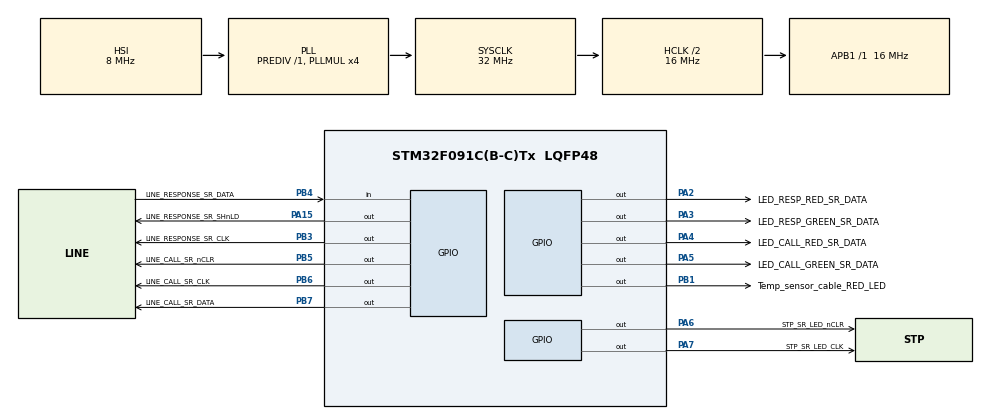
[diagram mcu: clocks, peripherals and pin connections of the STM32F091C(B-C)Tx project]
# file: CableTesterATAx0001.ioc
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Mcu.Family=STM32F0
Mcu.Name=STM32F091C(B-C)Tx
Mcu.Package=LQFP48
NVIC.TIM15_IRQn=true\:0\:0\:false\:false\:true\:true\:true\:true
NVIC.TIM3_IRQn=true\:0\:0\:false\:false\:true\:true\:true\:true
NVIC.TIM6_DAC_IRQn=true\:0\:0\:false\:false\:true\:true\:true\:true
PA15.GPIO_Label=LINE_RESPONSE_SR_SHnLD
PA15.Signal=GPIO_Output
PA2.GPIO_Label=LED_RESP_RED_SR_DATA
PA2.GPIO_Speed=GPIO_SPEED_FREQ_MEDIUM
PA2.PinState=GPIO_PIN_RESET
PA2.Signal=GPIO_Output
PA3.GPIO_Label=LED_RESP_GREEN_SR_DATA
PA3.GPIO_Speed=GPIO_SPEED_FREQ_MEDIUM
PA3.Signal=GPIO_Output
PA4.GPIO_Label=LED_CALL_RED_SR_DATA
PA4.GPIO_Speed=GPIO_SPEED_FREQ_MEDIUM
PA4.Signal=GPIO_Output
PA5.GPIO_Label=LED_CALL_GREEN_SR_DATA
PA5.GPIO_Speed=GPIO_SPEED_FREQ_MEDIUM
PA5.Signal=GPIO_Output
PA6.GPIO_Label=STP_SR_LED_nCLR
PA6.GPIO_Speed=GPIO_SPEED_FREQ_MEDIUM
PA6.Signal=GPIO_Output
PA7.GPIO_Label=STP_SR_LED_CLK
PA7.GPIO_Speed=GPIO_SPEED_FREQ_MEDIUM
PA7.Signal=GPIO_Output
PB1.GPIO_Label=Temp_sensor_cable_RED_LED
PB1.Signal=GPIO_Output
PB3.GPIO_Label=LINE_RESPONSE_SR_CLK
PB3.Signal=GPIO_Output
PB4.GPIO_Label=LINE_RESPONSE_SR_DATA
PB4.Signal=GPIO_Input
PB5.GPIO_Label=LINE_CALL_SR_nCLR
PB5.Signal=GPIO_Output
PB6.GPIO_Label=LINE_CALL_SR_CLK
PB6.Signal=GPIO_Output
PB7.GPIO_Label=LINE_CALL_SR_DATA
PB7.Signal=GPIO_Output
ProjectManager.HeapSize=0x200
ProjectManager.StackSize=0x400
ProjectManager.TargetToolchain=STM32CubeIDE
RCC.AHBCLKDivider=RCC_SYSCLK_DIV2
RCC.AHBFreq_Value=16000000
RCC.APB1Freq_Value=16000000
RCC.APB1TimFreq_Value=16000000
RCC.HCLKFreq_Value=16000000
RCC.PLLMUL=RCC_PLL_MUL4
RCC.SYSCLKFreq_VALUE=32000000
RCC.SYSCLKSource=RCC_SYSCLKSOURCE_PLLCLK
TIM15.AutoReloadPreload=TIM_AUTORELOAD_PRELOAD_ENABLE
TIM15.Period=500
TIM15.Prescaler=15999
TIM3.AutoReloadPreload=TIM_AUTORELOAD_PRELOAD_ENABLE
TIM3.Period=500
TIM3.Prescaler=15999
TIM6.AutoReloadPreload=TIM_AUTORELOAD_PRELOAD_ENABLE
TIM6.Prescaler=15
VP_TIM15_VS_ClockSourceINT.Mode=Internal
VP_TIM3_VS_ClockSourceINT.Mode=Internal
VP_TIM6_VS_ClockSourceINT.Mode=Enable_Timer
board=custom

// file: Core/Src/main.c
/* USER CODE BEGIN Header */
/**
  ******************************************************************************
  * @file           : main.c
  * @brief          : Main program body
  ******************************************************************************
  * @attention
  *
  * Copyright (c) 2023 STMicroelectronics.
  * All rights reserved.
  *
  * This software is licensed under terms that can be found in the LICENSE file
  * in the root directory of this software component.
  * If no LICENSE file comes with this software, it is provided AS-IS.
  *
  ******************************************************************************
  */
/* USER CODE END Header */
#include "main.h"

/* USER CODE BEGIN Includes */
#include "LEDConfig.h"
#include "TempSensorConfig.h"
/* USER CODE END Includes */

TIM_HandleTypeDef htim3;
TIM_HandleTypeDef htim6;
TIM_HandleTypeDef htim15;

/* USER CODE BEGIN PV */
uint8_t g_u8LedCallGreenData = 0;
uint8_t g_u8LedRespGreenData = 0;
uint8_t g_u8LedCallRedData = 0;
uint8_t g_u8LedRespRedData = 0;

//uint8_t g_u8AllLedCallGreenData = 0;
//uint8_t g_u8AllLedRespGreenData = 0;
//uint8_t g_u8AllLedCallRedData = 0;
//uint8_t g_u8AllLedRespRedData = 0;

uint8_t g_u8ActiveRow = 0;
uint8_t g_u8ActiveRowColor = 1;
uint8_t g_u8ActiveLed = 0;
uint8_t g_u8StepNumber = 0;
uint8_t g_u8CallLineNumber = 0;
uint8_t g_u8ResponseLineNumber = 0;

/*поменять на ноль если режим мигание и потом все горят сразу и снова мигание*/
//uint8_t g_u8AllLinesUnicolor = 4;
uint8_t g_u8ChangeColor = 1;
//uint8_t g_u8DisplayAllLinesUnicolor = 0;
uint8_t g_u8ColumnGreen = 0b00000000;
uint8_t g_u8ColumnRed = 0b00000000;

uint8_t g_u8NeedToDisplayLedData = 0;
//uint8_t g_u8NeedToDefineLedGreenData = 0;
//uint8_t g_u8NeedToDefineLedRedData = 0;
//uint8_t g_u8NeedToDefineLedNothingData = 0;
/*далее обнулить и единичить по таймеру 10-100кгц*/
uint8_t g_u8RingDataReadyToReadFlag = 0;
uint16_t g_u16TimeCounter = 0;
uint8_t g_u8CallWireStep = 0;
uint8_t g_u8NeedToAnalyzeCableDataFlag = 0;

RCC_ClkInitTypeDef sClokConfig;
uint16_t g_u16PrescalerHtim3;
uint16_t g_u16PrescalerHtim6;
uint16_t g_u16Prescalerhtim15;
uint32_t g_u32frequencyTim;
uint32_t g_u32TimePeriodCallRespLed = 0;
uint16_t g_u16TimePeriodTempSensor = 0;
uint16_t g_u16TimePeriodRingLine = 0;
uint16_t g_u16TimePeriodStartIndication = 0;

uint32_t g_u32DebugTimeBegin;
uint32_t g_u32DebugTimeEnd;
uint32_t g_u32DebugTimeDifference;

//uint8_t g_u8CallData = 0b10000000;
uint8_t g_u8ActiveWireCheck = 0;
//uint8_t g_u8CallDataMemory = 0;
uint8_t g_u8SummResponsesWire = 0;
uint8_t g_u8SummResponsesArray = 0;
uint8_t g_u8CounterUnitsDigits = 0;
uint8_t g_u8StartIndicationFlag = 1;
uint8_t g_u8NeedToDisplayStartLedData = 0;

//uint32_t uwTick;

uint8_t g_au8ResponsesData [NUMBER_OF_LINES][NUMBER_OF_LINES] = {
		{0, 0, 0, 0, 0, 0, 0, 0},
		{0, 0, 0, 0, 0, 0, 0, 0},
		{0, 0, 0, 0, 0, 0, 0, 0},
		{0, 0, 0, 0, 0, 0, 0, 0},
		{0, 0, 0, 0, 0, 0, 0, 0},
		{0, 0, 0, 0, 0, 0, 0, 0},
		{0, 0, 0, 0, 0, 0, 0, 0},
		{0, 0, 0, 0, 0, 0, 0, 0}};

uint8_t g_au8GreenCalls[NUMBER_OF_LINES] = {
		CALL_GREEN_LED_8_POS,
		CALL_GREEN_LED_7_POS,
		CALL_GREEN_LED_6_POS,
		CALL_GREEN_LED_5_POS,
		CALL_GREEN_LED_4_POS,
		CALL_GREEN_LED_3_POS,
		CALL_GREEN_LED_2_POS,
		CALL_GREEN_LED_1_POS};

uint8_t g_au8GreenResponses[NUMBER_OF_LINES] = {
		RESP_GREEN_LED_8_POS,
		RESP_GREEN_LED_7_POS,
		RESP_GREEN_LED_6_POS,
		RESP_GREEN_LED_5_POS,
		RESP_GREEN_LED_4_POS,
		RESP_GREEN_LED_3_POS,
		RESP_GREEN_LED_2_POS,
		RESP_GREEN_LED_1_POS};

uint8_t g_au8RedCalls[NUMBER_OF_LINES] = {
		CALL_RED_LED_8_POS,
		CALL_RED_LED_7_POS,
		CALL_RED_LED_6_POS,
		CALL_RED_LED_5_POS,
		CALL_RED_LED_4_POS,
		CALL_RED_LED_3_POS,
		CALL_RED_LED_2_POS,
		CALL_RED_LED_1_POS};

uint8_t g_au8RedResponses[NUMBER_OF_LINES] = {
		RESP_RED_LED_8_POS,
		RESP_RED_LED_7_POS,
		RESP_RED_LED_6_POS,
		RESP_RED_LED_5_POS,
		RESP_RED_LED_4_POS,
		RESP_RED_LED_3_POS,
		RESP_RED_LED_2_POS,
		RESP_RED_LED_1_POS};

/* USER CODE END PV */

void SystemClock_Config(void);
static void MX_GPIO_Init(void);
static void MX_TIM3_Init(void);
static void MX_TIM6_Init(void);
static void MX_TIM15_Init(void);
/* USER CODE BEGIN PFP */
void clearLedSr(void);
void loadLedSr(void);
void changeColorLedSr(void);
void changeRowLedSr(void);
void clearCallSr(void);
void usDelay(uint16_t u16useconds);
void readResponsesSr(void);
void analyzeCableData(void);
void startIndicationLeds(void);

/* USER CODE END PFP */

int main(void)
{

  /* MCU Configuration--------------------------------------------------------*/

  /* Reset of all peripherals, Initializes the Flash interface and the Systick. */
  HAL_Init();

  /* Configure the system clock */
  SystemClock_Config();

  /* Initialize all configured peripherals */
  MX_GPIO_Init();
  MX_TIM3_Init();
  MX_TIM6_Init();
  MX_TIM15_Init();
  /* USER CODE BEGIN 2 */

    //Установить все линии в первоначальное положение светодиодов
    HAL_GPIO_WritePin(STP_SR_LED_nCLR_GPIO_Port, STP_SR_LED_nCLR_Pin,
    		GPIO_PIN_SET);
    HAL_GPIO_WritePin(STP_SR_LED_CLK_GPIO_Port, STP_SR_LED_CLK_Pin,
    		GPIO_PIN_RESET);
    //Установить все линии в первоначальное положение прозвонки и чтения
    HAL_GPIO_WritePin(LINE_CALL_SR_CLK_GPIO_Port, LINE_CALL_SR_CLK_Pin,
    		GPIO_PIN_RESET);
    HAL_GPIO_WritePin(LINE_RESPONSE_SR_CLK_GPIO_Port, LINE_RESPONSE_SR_CLK_Pin,
    		GPIO_PIN_RESET);
    HAL_GPIO_WritePin(LINE_CALL_SR_nCLR_GPIO_Port, LINE_CALL_SR_nCLR_Pin,
    		GPIO_PIN_SET);
    HAL_GPIO_WritePin(LINE_RESPONSE_SR_SHnLD_GPIO_Port, LINE_RESPONSE_SR_SHnLD_Pin,
    		GPIO_PIN_SET);

    clearLedSr();
    clearCallSr();

    // Запустить таймер
    if (USE_TIMER) {
        HAL_TIM_Base_Start_IT(&htim3);
        HAL_TIM_Base_Start_IT(&htim6);
        HAL_TIM_Base_Start_IT(&htim15);

    }

    /*TIME SETTINGS*/

    g_u32frequencyTim = HAL_RCC_GetPCLK1Freq();
    g_u16PrescalerHtim3 = htim3.Init.Prescaler;
    g_u16PrescalerHtim6 = htim6.Init.Prescaler;
    g_u16Prescalerhtim15 = htim15.Init.Prescaler;

    /*TIME SETTINGS FOR CALL-RESP LEDs*/

 /*   g_u32TimePeriodCallRespLed = ((g_u32frequencyTim * TIME_BLINKING_LED_MS) /
    		((g_u32Prescaler + 1) * 1000)) - 1;
    __HAL_TIM_SET_AUTORELOAD(&htim3, g_u32TimePeriodCallRespLed); */

    /*TIME SETTINGS FOR TEMP SENSOR*/

    g_u16TimePeriodTempSensor = ((g_u32frequencyTim) / ((g_u16PrescalerHtim3 + 1) *
    		1000)) * ((uint16_t)PERIOD_OF_BLINKING_TEMP_SENSOR_LED_MS / 2);
    __HAL_TIM_SET_AUTORELOAD(&htim3, g_u16TimePeriodTempSensor);

    /*TIME SETTINGS FOR CHECK LINE*/

    g_u16TimePeriodRingLine = ((g_u32frequencyTim) / ((g_u16PrescalerHtim6 + 1) *
    		1000 * 1000)) * ((uint16_t)PERIOD_OF_RINGING_LINE_US);
    __HAL_TIM_SET_AUTORELOAD(&htim6, g_u16TimePeriodRingLine);

    /*TIME SETTINGS FOR START INDICATION*/

    g_u16TimePeriodStartIndication = ((g_u32frequencyTim) / ((g_u16Prescalerhtim15 + 1) *
    		1000)) * ((uint16_t)TIME_BLINKING_LED_MS);
    __HAL_TIM_SET_AUTORELOAD(&htim15, g_u16TimePeriodStartIndication);

    /*START SETTINGS FOR TS*2*/

//	HAL_GPIO_WritePin(Temp_sensor_cable_RED_LED_GPIO_Port,
//			Temp_sensor_cable_RED_LED_Pin, GPIO_PIN_SET);

  /* USER CODE END 2 */

  /* Infinite loop */
    while (1)
    {

    /* USER CODE BEGIN 3 */
    		/*ringing of lines*/
    		/*хочу чтобы 01111111 прошёл поочерёдно по 8 линиям и
    		 	 	 * результат записался в двумерный массив*/
    	/*вставить мультик и сделать флаг на запись таймера как только в ответе хоть где-то единица*/

    	if (g_u8StartIndicationFlag) {
    		startIndicationLeds ();
    		//g_u8StartIndicationFlag = 0;
    	}
    	if (!USE_TIMER) {
    		g_u8NeedToDisplayStartLedData = 1;
    	}
    	if (g_u8NeedToDisplayStartLedData) {
        	clearLedSr();
        	loadLedSr();
    		g_u8ActiveLed++;
    		if (g_u8ActiveLed == NUMBER_OF_LEDS) {
    			g_u8ActiveRowColor++;
    			g_u8ActiveLed = 0;
    			if (g_u8ActiveRowColor == NUMBER_OF_COLORS) {
    				g_u8ActiveRowColor = 1;
    			}
    		}
    		if (g_u8ActiveRow == NUMBER_OF_LINES) {
    			g_u8ActiveRow = 0;
    		}
    		g_u8ActiveRow++;
    		g_u8NeedToDisplayStartLedData = 0;
    	}

        if (g_u8RingDataReadyToReadFlag) {
        	readResponsesSr();
	        g_u8RingDataReadyToReadFlag = 0;
        }

        if (g_u8NeedToAnalyzeCableDataFlag) {
        	analyzeCableData();
        	g_u8NeedToAnalyzeCableDataFlag = 0;
        }
        if (g_u8NeedToDisplayLedData) {
        	clearLedSr();
        	loadLedSr();
        	g_u8NeedToDisplayLedData = 0;
        }

        //перевернуть запись с 1 на ноль - сделано
        //тогда суммарно будет работать
        //переключение с мультика на отображение засчет суммы массива больше 1

        /* data processing */
        //хочу чтобы двумерный массив обработался и
        //на основе обработки сгенерировались данные для отображения
        //сформировали что отобразить
        /****************************************************/

//        if (g_u8StepNumber == 0) {
//
//            if (g_u8ActiveRowColor == GREEN_COLOR) {
//                if ((g_u8ActiveLed >= 0) && (g_u8ActiveLed < NUMBER_OF_LEDS / 2)) {
//		            g_u8LedCallGreenData = (LED_ON << g_au8GreenCalls[g_u8ActiveRow]);
//                    g_u8LedCallRedData = LED_OFF;
//		        }
//                if ((g_u8ActiveLed >= NUMBER_OF_LEDS / 2) &&
//                		(g_u8ActiveLed < NUMBER_OF_LEDS)) {
//                	g_u8LedRespGreenData = (LED_ON <<
//                			g_au8GreenResponses[NUMBER_OF_LINES - g_u8ActiveRow - 1]);
//                	g_u8LedRespRedData = LED_OFF;
//                }
//            }
//
//            if (g_u8ActiveRowColor == RED_COLOR) {
//            	if ((g_u8ActiveLed >= 0) && (g_u8ActiveLed < NUMBER_OF_LEDS / 2)) {
//            		g_u8LedCallRedData = LED_ON << g_au8RedCalls[g_u8ActiveRow];
//            		g_u8LedCallGreenData = LED_OFF;
//            	}
//            	if ((g_u8ActiveLed >= NUMBER_OF_LEDS / 2) &&
//            			(g_u8ActiveLed < NUMBER_OF_LEDS)) {
//            		g_u8LedRespRedData = LED_ON <<
//            				g_au8RedResponses[NUMBER_OF_LINES - g_u8ActiveRow - 1];
//            		g_u8LedRespGreenData = LED_OFF;
//            	}
//            }
//
//            if (g_u8ActiveRowColor == YELLOW_COLOR) {
//            	if ((g_u8ActiveLed >= 0) && (g_u8ActiveLed < NUMBER_OF_LEDS / 2)) {
//            		g_u8LedCallGreenData = LED_ON << g_au8GreenCalls[g_u8ActiveRow];
//            		g_u8LedCallRedData = LED_ON << g_au8RedCalls[g_u8ActiveRow];
//            	}
//            	if ((g_u8ActiveLed >= NUMBER_OF_LEDS / 2) &&
//            			(g_u8ActiveLed < NUMBER_OF_LEDS)) {
//            		g_u8LedRespGreenData = LED_ON <<
//            				g_au8GreenResponses[NUMBER_OF_LINES - g_u8ActiveRow - 1];
//            		g_u8LedRespRedData = LED_ON <<
//            				g_au8RedResponses[NUMBER_OF_LINES - g_u8ActiveRow - 1];
//            	}
//            }
//        }
//
//        if (g_u8StepNumber != 0) {
        /**********************************************************************/

        	/*для того, чтобы осталось перемигиваться раскомментить*/

	  /*g_u8BinaryGreen = g_u8BinaryGreen | (SR_DATA_bm << g_au8GreenCalls
        	[NUMBER_OF_LINES - g_u8StepNumber]);*/

	 /* g_u8BinaryRed = g_u8BinaryRed | (SR_DATA_bm << g_au8RedCalls
        	[NUMBER_OF_LINES - g_u8StepNumber]);*/

//        	if (g_u8ActiveRowColor == GREEN_COLOR) {
//
//        		g_u8LedCallGreenData = (LED_ON << g_au8GreenCalls[g_u8ActiveRow]) |
//        				(g_u8ColumnGreen);
//        		g_u8LedRespGreenData = (LED_ON << g_au8GreenResponses
//        				[NUMBER_OF_LINES - g_u8ActiveRow]) | (g_u8ColumnGreen);
//			  	g_u8LedCallRedData = LED_OFF /*| (g_u8BinaryRed)*/;
//			  	g_u8LedRespRedData = LED_OFF /*| (g_u8BinaryRed)*/;
//        	}
//        	if (g_u8ActiveRowColor == RED_COLOR) {
//
//        		g_u8LedCallRedData = (LED_ON << g_au8RedCalls[g_u8ActiveRow]) |
//        				(g_u8ColumnRed);
//        		g_u8LedRespRedData = (LED_ON << g_au8RedResponses
//        				[NUMBER_OF_LINES - g_u8ActiveRow]) | (g_u8ColumnRed);
//        		g_u8LedCallGreenData = LED_OFF /*| (g_u8BinaryGreen)*/;
//        		g_u8LedRespGreenData = LED_OFF /*| (g_u8BinaryGreen)*/;
//        	}
//        }
//
//
//        //отобразили
//
//        if (g_u8NeedToDisplayLedData) {
//        	clearLedSr();
//        	loadLedSr();
//
//
//        	if (USE_TIMER) {
//        		g_u8NeedToDisplayLedData = 0;
//        	}
//        	g_u8ActiveLed++;
//        	if (g_u8ActiveLed == NUMBER_OF_LEDS) {
//        		g_u8ActiveRowColor++;
//        		g_u8ActiveLed = 0;
//        		if (g_u8ActiveRowColor == NUMBER_OF_COLORS) {
//        			g_u8ActiveRowColor = 1;
//
//        		}
//        	}
//		 // g_u8ActiveRow++;
//
//        	if (g_u8ActiveRow/* + g_u8StepNumber */== NUMBER_OF_LINES) {
//        		g_u8ActiveRow = 0;
//			  //g_u8StepNumber++;
//			}
//        	g_u8ActiveRow++;
//        	if (g_u8StepNumber == NUMBER_OF_LINES) {
//				//break;
//        		g_u8StepNumber = 0;
//				g_u8ColumnGreen = 0b00000000;
//				g_u8ColumnRed = 0b00000000;
//        	}
////				g_u8AllLinesUnicolor++;
////			  	if (g_u8AllLinesUnicolor == NUMBER_OF_COLORS) {
////				  	g_u8AllLinesUnicolor = 0;
////			  	}
////			    g_u8DisplayAllLinesUnicolor = 1;
//        }
//
//        if (g_u8AllLinesUnicolor == GREEN_COLOR) {
//
//        	g_u8AllLedCallGreenData = LED_ON;
//        	g_u8AllLedRespGreenData = LED_ON;
//        	g_u8AllLedCallRedData = LED_OFF;
//        	g_u8AllLedRespRedData = LED_OFF;
//        }
//
//        if (g_u8AllLinesUnicolor == RED_COLOR) {
//
//        	g_u8AllLedCallGreenData = LED_OFF;
//        	g_u8AllLedRespGreenData = LED_OFF;
//        	g_u8AllLedCallRedData = LED_ON;
//        	g_u8AllLedRespRedData = LED_ON;
//        }
//
//        if (g_u8AllLinesUnicolor == YELLOW_COLOR) {
//
//        	/*так горит жёлтый, в зависимости от того, что OFF будет другой цвет -
//        	 	 	 * цикл?? условие7??? чтобы по порядку с прерыванием*/
//        	g_u8AllLedCallGreenData = LED_ON;
//        	g_u8AllLedRespGreenData = LED_ON;
//        	g_u8AllLedCallRedData = LED_ON;
//        	g_u8AllLedRespRedData = LED_ON;
//        }
//
//
//        if (g_u8DisplayAllLinesUnicolor) {
//
//        	HAL_GPIO_WritePin(LED_CALL_GREEN_SR_DATA_GPIO_Port,
//        			LED_CALL_GREEN_SR_DATA_Pin, g_u8AllLedCallGreenData);
//        	HAL_GPIO_WritePin(LED_RESP_GREEN_SR_DATA_GPIO_Port,
//        			LED_RESP_GREEN_SR_DATA_Pin, g_u8AllLedRespGreenData);
//        	HAL_GPIO_WritePin(LED_CALL_RED_SR_DATA_GPIO_Port,
//        			LED_CALL_RED_SR_DATA_Pin, g_u8AllLedCallRedData);
//        	HAL_GPIO_WritePin(LED_RESP_RED_SR_DATA_GPIO_Port,
//        			LED_RESP_RED_SR_DATA_Pin, g_u8AllLedRespRedData);
//        	for (uint8_t n = 0; n < NUMBER_OF_LINES; n++) {
//        		HAL_GPIO_WritePin(STP_SR_LED_CLK_GPIO_Port, STP_SR_LED_CLK_Pin,
//        				GPIO_PIN_SET);
//        		HAL_GPIO_WritePin(STP_SR_LED_CLK_GPIO_Port, STP_SR_LED_CLK_Pin,
//        				GPIO_PIN_RESET);
//        	}
//        	g_u8DisplayAllLinesUnicolor = 0;
//        }

//	  if (!USE_TIMER) {
//		  g_u8ActiveRowColor++;
//		  if (g_u8ActiveRowColor == NUMBER_OF_COLORS) {
//			  g_u8ActiveRowColor = 0;
//		  }
//	  }

  }

  /* USER CODE END 3 */
}

void SystemClock_Config(void)
{
  RCC_OscInitTypeDef RCC_OscInitStruct = {0};
  RCC_ClkInitTypeDef RCC_ClkInitStruct = {0};

  /** Initializes the RCC Oscillators according to the specified parameters
  * in the RCC_OscInitTypeDef structure.
  */
  RCC_OscInitStruct.OscillatorType = RCC_OSCILLATORTYPE_HSI;
  RCC_OscInitStruct.HSIState = RCC_HSI_ON;
  RCC_OscInitStruct.HSICalibrationValue = RCC_HSICALIBRATION_DEFAULT;
  RCC_OscInitStruct.PLL.PLLState = RCC_PLL_ON;
  RCC_OscInitStruct.PLL.PLLSource = RCC_PLLSOURCE_HSI;
  RCC_OscInitStruct.PLL.PLLMUL = RCC_PLL_MUL4;
  RCC_OscInitStruct.PLL.PREDIV = RCC_PREDIV_DIV1;
  if (HAL_RCC_OscConfig(&RCC_OscInitStruct) != HAL_OK)
  {
    Error_Handler();
  }

  /** Initializes the CPU, AHB and APB buses clocks
  */
  RCC_ClkInitStruct.ClockType = RCC_CLOCKTYPE_HCLK|RCC_CLOCKTYPE_SYSCLK
                              |RCC_CLOCKTYPE_PCLK1;
  RCC_ClkInitStruct.SYSCLKSource = RCC_SYSCLKSOURCE_PLLCLK;
  RCC_ClkInitStruct.AHBCLKDivider = RCC_SYSCLK_DIV2;
  RCC_ClkInitStruct.APB1CLKDivider = RCC_HCLK_DIV1;

  if (HAL_RCC_ClockConfig(&RCC_ClkInitStruct, FLASH_LATENCY_1) != HAL_OK)
  {
    Error_Handler();
  }
}

static void MX_TIM3_Init(void)
{

  TIM_ClockConfigTypeDef sClockSourceConfig = {0};
  TIM_MasterConfigTypeDef sMasterConfig = {0};

  htim3.Instance = TIM3;
  htim3.Init.Prescaler = 15999;
  htim3.Init.CounterMode = TIM_COUNTERMODE_UP;
  htim3.Init.Period = 500;
  htim3.Init.ClockDivision = TIM_CLOCKDIVISION_DIV1;
  htim3.Init.AutoReloadPreload = TIM_AUTORELOAD_PRELOAD_ENABLE;
  if (HAL_TIM_Base_Init(&htim3) != HAL_OK)
  {
    Error_Handler();
  }
  sClockSourceConfig.ClockSource = TIM_CLOCKSOURCE_INTERNAL;
  if (HAL_TIM_ConfigClockSource(&htim3, &sClockSourceConfig) != HAL_OK)
  {
    Error_Handler();
  }
  sMasterConfig.MasterOutputTrigger = TIM_TRGO_RESET;
  sMasterConfig.MasterSlaveMode = TIM_MASTERSLAVEMODE_DISABLE;
  if (HAL_TIMEx_MasterConfigSynchronization(&htim3, &sMasterConfig) != HAL_OK)
  {
    Error_Handler();
  }

}

static void MX_TIM6_Init(void)
{

  TIM_MasterConfigTypeDef sMasterConfig = {0};

  htim6.Instance = TIM6;
  htim6.Init.Prescaler = 15;
  htim6.Init.CounterMode = TIM_COUNTERMODE_UP;
  htim6.Init.Period = 65535;
  htim6.Init.AutoReloadPreload = TIM_AUTORELOAD_PRELOAD_ENABLE;
  if (HAL_TIM_Base_Init(&htim6) != HAL_OK)
  {
    Error_Handler();
  }
  sMasterConfig.MasterOutputTrigger = TIM_TRGO_RESET;
  sMasterConfig.MasterSlaveMode = TIM_MASTERSLAVEMODE_DISABLE;
  if (HAL_TIMEx_MasterConfigSynchronization(&htim6, &sMasterConfig) != HAL_OK)
  {
    Error_Handler();
  }

}

static void MX_TIM15_Init(void)
{

  TIM_ClockConfigTypeDef sClockSourceConfig = {0};
  TIM_MasterConfigTypeDef sMasterConfig = {0};

  htim15.Instance = TIM15;
  htim15.Init.Prescaler = 15999;
  htim15.Init.CounterMode = TIM_COUNTERMODE_UP;
  htim15.Init.Period = 500;
  htim15.Init.ClockDivision = TIM_CLOCKDIVISION_DIV1;
  htim15.Init.RepetitionCounter = 0;
  htim15.Init.AutoReloadPreload = TIM_AUTORELOAD_PRELOAD_ENABLE;
  if (HAL_TIM_Base_Init(&htim15) != HAL_OK)
  {
    Error_Handler();
  }
  sClockSourceConfig.ClockSource = TIM_CLOCKSOURCE_INTERNAL;
  if (HAL_TIM_ConfigClockSource(&htim15, &sClockSourceConfig) != HAL_OK)
  {
    Error_Handler();
  }
  sMasterConfig.MasterOutputTrigger = TIM_TRGO_RESET;
  sMasterConfig.MasterSlaveMode = TIM_MASTERSLAVEMODE_DISABLE;
  if (HAL_TIMEx_MasterConfigSynchronization(&htim15, &sMasterConfig) != HAL_OK)
  {
    Error_Handler();
  }

}

static void MX_GPIO_Init(void)
{
  GPIO_InitTypeDef GPIO_InitStruct = {0};

  /* GPIO Ports Clock Enable */
  __HAL_RCC_GPIOA_CLK_ENABLE();
  __HAL_RCC_GPIOB_CLK_ENABLE();

  /*Configure GPIO pin Output Level */
  HAL_GPIO_WritePin(GPIOA, LED_RESP_RED_SR_DATA_Pin|LED_RESP_GREEN_SR_DATA_Pin|LED_CALL_RED_SR_DATA_Pin|LED_CALL_GREEN_SR_DATA_Pin
                          |STP_SR_LED_nCLR_Pin|STP_SR_LED_CLK_Pin|LINE_RESPONSE_SR_SHnLD_Pin, GPIO_PIN_RESET);

  /*Configure GPIO pin Output Level */
  HAL_GPIO_WritePin(GPIOB, Temp_sensor_cable_RED_LED_Pin|LINE_RESPONSE_SR_CLK_Pin|LINE_CALL_SR_nCLR_Pin|LINE_CALL_SR_CLK_Pin
                          |LINE_CALL_SR_DATA_Pin, GPIO_PIN_RESET);

  /*Configure GPIO pins : LED_RESP_RED_SR_DATA_Pin LED_RESP_GREEN_SR_DATA_Pin LED_CALL_RED_SR_DATA_Pin LED_CALL_GREEN_SR_DATA_Pin
                           STP_SR_LED_nCLR_Pin STP_SR_LED_CLK_Pin */
  GPIO_InitStruct.Pin = LED_RESP_RED_SR_DATA_Pin|LED_RESP_GREEN_SR_DATA_Pin|LED_CALL_RED_SR_DATA_Pin|LED_CALL_GREEN_SR_DATA_Pin
                          |STP_SR_LED_nCLR_Pin|STP_SR_LED_CLK_Pin;
  GPIO_InitStruct.Mode = GPIO_MODE_OUTPUT_PP;
  GPIO_InitStruct.Pull = GPIO_NOPULL;
  GPIO_InitStruct.Speed = GPIO_SPEED_FREQ_MEDIUM;
  HAL_GPIO_Init(GPIOA, &GPIO_InitStruct);

  /*Configure GPIO pins : Temp_sensor_cable_RED_LED_Pin LINE_RESPONSE_SR_CLK_Pin LINE_CALL_SR_nCLR_Pin LINE_CALL_SR_CLK_Pin
                           LINE_CALL_SR_DATA_Pin */
  GPIO_InitStruct.Pin = Temp_sensor_cable_RED_LED_Pin|LINE_RESPONSE_SR_CLK_Pin|LINE_CALL_SR_nCLR_Pin|LINE_CALL_SR_CLK_Pin
                          |LINE_CALL_SR_DATA_Pin;
  GPIO_InitStruct.Mode = GPIO_MODE_OUTPUT_PP;
  GPIO_InitStruct.Pull = GPIO_NOPULL;
  GPIO_InitStruct.Speed = GPIO_SPEED_FREQ_LOW;
  HAL_GPIO_Init(GPIOB, &GPIO_InitStruct);

  /*Configure GPIO pin : LINE_RESPONSE_SR_SHnLD_Pin */
  GPIO_InitStruct.Pin = LINE_RESPONSE_SR_SHnLD_Pin;
  GPIO_InitStruct.Mode = GPIO_MODE_OUTPUT_PP;
  GPIO_InitStruct.Pull = GPIO_NOPULL;
  GPIO_InitStruct.Speed = GPIO_SPEED_FREQ_LOW;
  HAL_GPIO_Init(LINE_RESPONSE_SR_SHnLD_GPIO_Port, &GPIO_InitStruct);

  /*Configure GPIO pin : LINE_RESPONSE_SR_DATA_Pin */
  GPIO_InitStruct.Pin = LINE_RESPONSE_SR_DATA_Pin;
  GPIO_InitStruct.Mode = GPIO_MODE_INPUT;
  GPIO_InitStruct.Pull = GPIO_NOPULL;
  HAL_GPIO_Init(LINE_RESPONSE_SR_DATA_GPIO_Port, &GPIO_InitStruct);

}

/* USER CODE BEGIN 4 */

void clearLedSr(void)
{

	HAL_GPIO_WritePin(STP_SR_LED_nCLR_GPIO_Port, STP_SR_LED_nCLR_Pin,
			GPIO_PIN_RESET);
	HAL_GPIO_WritePin(STP_SR_LED_nCLR_GPIO_Port, STP_SR_LED_nCLR_Pin,
			GPIO_PIN_SET);
}

void loadLedSr(void)
{

	for (uint8_t i = 0; i < NUMBER_OF_LINES; i++) {
        HAL_GPIO_WritePin(LED_CALL_GREEN_SR_DATA_GPIO_Port,
        		LED_CALL_GREEN_SR_DATA_Pin, (g_u8LedCallGreenData & SR_DATA_bm));
		HAL_GPIO_WritePin(LED_RESP_GREEN_SR_DATA_GPIO_Port,
				LED_RESP_GREEN_SR_DATA_Pin, (g_u8LedRespGreenData & SR_DATA_bm));
		HAL_GPIO_WritePin(LED_CALL_RED_SR_DATA_GPIO_Port,
				LED_CALL_RED_SR_DATA_Pin, (g_u8LedCallRedData & SR_DATA_bm));
		HAL_GPIO_WritePin(LED_RESP_RED_SR_DATA_GPIO_Port,
				LED_RESP_RED_SR_DATA_Pin, (g_u8LedRespRedData & SR_DATA_bm));

		HAL_GPIO_WritePin(STP_SR_LED_CLK_GPIO_Port, STP_SR_LED_CLK_Pin,
				GPIO_PIN_SET);
		HAL_GPIO_WritePin(STP_SR_LED_CLK_GPIO_Port, STP_SR_LED_CLK_Pin,
				GPIO_PIN_RESET);

		g_u8LedCallGreenData = g_u8LedCallGreenData >> 1;
		g_u8LedRespGreenData = g_u8LedRespGreenData >> 1;
		g_u8LedCallRedData = g_u8LedCallRedData >> 1;
		g_u8LedRespRedData = g_u8LedRespRedData >> 1;
	}
}

void clearCallSr(void)
{
	HAL_GPIO_WritePin(LINE_CALL_SR_nCLR_GPIO_Port, LINE_CALL_SR_nCLR_Pin,
			GPIO_PIN_RESET);
	HAL_GPIO_WritePin(LINE_CALL_SR_nCLR_GPIO_Port, LINE_CALL_SR_nCLR_Pin,
			GPIO_PIN_SET);
}

void readResponsesSr(void)
{
	HAL_GPIO_WritePin(LINE_RESPONSE_SR_SHnLD_GPIO_Port,
			LINE_RESPONSE_SR_SHnLD_Pin, GPIO_PIN_RESET);
	HAL_GPIO_WritePin(LINE_RESPONSE_SR_SHnLD_GPIO_Port,
	    	LINE_RESPONSE_SR_SHnLD_Pin, GPIO_PIN_SET);

	for (g_u8ResponseLineNumber = 0; g_u8ResponseLineNumber < NUMBER_OF_LINES;
			g_u8ResponseLineNumber++) {

		HAL_GPIO_WritePin(LINE_RESPONSE_SR_CLK_GPIO_Port,
				LINE_RESPONSE_SR_CLK_Pin, GPIO_PIN_SET);
		HAL_GPIO_WritePin(LINE_RESPONSE_SR_CLK_GPIO_Port,
				LINE_RESPONSE_SR_CLK_Pin, GPIO_PIN_RESET);

		if (HAL_GPIO_ReadPin(LINE_RESPONSE_SR_DATA_GPIO_Port,
				LINE_RESPONSE_SR_DATA_Pin)) {
			g_au8ResponsesData[g_u8ActiveWireCheck][g_u8ResponseLineNumber] = WIRE_NACK;
		}
		else {
			g_au8ResponsesData[g_u8ActiveWireCheck][g_u8ResponseLineNumber] = WIRE_ACK;
			HAL_TIM_Base_Stop_IT(&htim15); /*запрещаем стартовую по прерыванию*/
			g_u8StartIndicationFlag = 0;
		}
	}
	HAL_TIM_Base_Stop_IT(&htim6); /*разрешаем прерывания*/
	g_u8NeedToAnalyzeCableDataFlag = 1;
//	g_u8ActiveWireCheck++; /*так знаем какую линию звоним*/ /***переместить в анализ??????????????***/
//	if (g_u8ActiveWireCheck == NUMBER_OF_LINES){
//		g_u8ActiveWireCheck = 0;
//		/*флаг для будущего анализа  + запрет на прерывания*/
//	}
}
// todo: переименовать SR_DATA_bm в MASK_LOW_BIT_UNIT ???????

void analyzeCableData(void)
{
	for (g_u8ResponseLineNumber = 0; g_u8ResponseLineNumber < NUMBER_OF_LINES;
			g_u8ResponseLineNumber++){
		if (g_au8ResponsesData[g_u8ActiveWireCheck][g_u8ResponseLineNumber]) {
			g_u8SummResponsesWire++;
			g_u8SummResponsesArray++;
		}
	}
	if ((g_u8SummResponsesArray == 0) && (g_u8ActiveWireCheck == NUMBER_OF_LINES)) {
		/*включить 15 тим*/
		/*выключить 3 тим*/
		HAL_TIM_Base_Stop_IT(&htim3);
		HAL_TIM_Base_Start_IT(&htim15); /*разрешаем прерывания*/
	}
	if ((g_au8ResponsesData[g_u8ActiveWireCheck][g_u8ActiveWireCheck]) && (g_u8SummResponsesWire = 1)) {
		g_u8LedCallGreenData = g_u8LedCallGreenData | (SR_DATA_bm << g_u8ActiveWireCheck);
		g_u8LedRespGreenData = g_u8LedRespGreenData | (SR_DATA_bm << g_u8ActiveWireCheck);
	}
	else if (g_u8SummResponsesWire == 0) {
		g_u8LedCallRedData = g_u8LedCallRedData | (SR_DATA_bm << g_u8ActiveWireCheck);
		g_u8LedRespRedData = g_u8LedRespRedData | (SR_DATA_bm << g_u8ActiveWireCheck);
	}
	else if ((g_u8SummResponsesWire > 1) && (g_au8ResponsesData[g_u8ActiveWireCheck][g_u8ActiveWireCheck])) {
		g_u8LedCallRedData = g_u8LedCallRedData | (SR_DATA_bm << g_u8ActiveWireCheck);
		g_u8LedRespRedData = g_u8LedRespRedData | (SR_DATA_bm << g_u8ActiveWireCheck);
		g_u8LedCallGreenData = g_u8LedCallGreenData | (SR_DATA_bm << g_u8ActiveWireCheck);
		g_u8LedRespGreenData = g_u8LedRespGreenData | (SR_DATA_bm << g_u8ActiveWireCheck);
		for (g_u8ResponseLineNumber = 0; g_u8ResponseLineNumber < NUMBER_OF_LINES;
				g_u8ResponseLineNumber++){
			if (g_au8ResponsesData[g_u8ActiveWireCheck][g_u8ResponseLineNumber]) {
				g_u8LedRespGreenData = g_u8LedRespGreenData | (SR_DATA_bm << g_u8CounterUnitsDigits);
				g_u8LedRespRedData = g_u8LedRespRedData | (SR_DATA_bm << g_u8CounterUnitsDigits);
			}
			g_u8CounterUnitsDigits++;
		}
	}
	else if ((g_au8ResponsesData[g_u8ActiveWireCheck][g_u8ActiveWireCheck] == 0) && (g_u8SummResponsesWire >= 1)) {
		g_u8LedCallRedData = g_u8LedCallRedData | (SR_DATA_bm << g_u8ActiveWireCheck);
		g_u8LedRespRedData = g_u8LedRespRedData | (SR_DATA_bm << g_u8ActiveWireCheck);
		for (g_u8ResponseLineNumber = 0; g_u8ResponseLineNumber < NUMBER_OF_LINES;
				g_u8ResponseLineNumber++){
			if (g_au8ResponsesData[g_u8ActiveWireCheck][g_u8ResponseLineNumber]) {
				g_u8LedCallGreenData = g_u8LedCallRedData | (SR_DATA_bm << g_u8CounterUnitsDigits);
				g_u8LedRespRedData = g_u8LedRespRedData | (SR_DATA_bm << g_u8CounterUnitsDigits);
				g_u8LedCallGreenData = g_u8LedCallGreenData | (SR_DATA_bm << g_u8ActiveWireCheck);
			}
			g_u8CounterUnitsDigits++;
		}
	}
	g_u8ActiveWireCheck++; /*так знаем какую линию звоним*/
	if (g_u8ActiveWireCheck == NUMBER_OF_LINES){
		g_u8ActiveWireCheck = 0;
		/*запрет на прерывания??*/
		g_u8SummResponsesArray = 0;
	}
	g_u8SummResponsesWire = 0;
	//HAL_TIM_Base_Start_IT(&htim6); /*разрешаем прерывания после того как отобразили первое*/
	HAL_TIM_Base_Start_IT(&htim3);

}

void startIndicationLeds(void)
{
	if (g_u8ActiveRowColor == GREEN_COLOR) {
		if ((g_u8ActiveLed >= 0) && (g_u8ActiveLed < NUMBER_OF_LEDS / 2)) {
			g_u8LedCallGreenData = (LED_ON << g_au8GreenCalls[g_u8ActiveRow]);
			g_u8LedCallRedData = LED_OFF;
		}
		if ((g_u8ActiveLed >= NUMBER_OF_LEDS / 2) && (g_u8ActiveLed < NUMBER_OF_LEDS)) {
			g_u8LedRespGreenData = (LED_ON <<
					g_au8GreenResponses[NUMBER_OF_LINES - g_u8ActiveRow - 1]);
			g_u8LedRespRedData = LED_OFF;
		}
	}

	if (g_u8ActiveRowColor == RED_COLOR) {
		if ((g_u8ActiveLed >= 0) && (g_u8ActiveLed < NUMBER_OF_LEDS / 2)) {
			g_u8LedCallRedData = LED_ON << g_au8RedCalls[g_u8ActiveRow];
			g_u8LedCallGreenData = LED_OFF;
		}
		if ((g_u8ActiveLed >= NUMBER_OF_LEDS / 2) && (g_u8ActiveLed < NUMBER_OF_LEDS)) {
			g_u8LedRespRedData = LED_ON <<
					g_au8RedResponses[NUMBER_OF_LINES - g_u8ActiveRow - 1];
			g_u8LedRespGreenData = LED_OFF;
		}
	}

	if (g_u8ActiveRowColor == YELLOW_COLOR) {
		if ((g_u8ActiveLed >= 0) && (g_u8ActiveLed < NUMBER_OF_LEDS / 2)) {
			g_u8LedCallGreenData = LED_ON << g_au8GreenCalls[g_u8ActiveRow];
			g_u8LedCallRedData = LED_ON << g_au8RedCalls[g_u8ActiveRow];
		}
		if ((g_u8ActiveLed >= NUMBER_OF_LEDS / 2) && (g_u8ActiveLed < NUMBER_OF_LEDS)) {
			g_u8LedRespGreenData = LED_ON <<
					g_au8GreenResponses[NUMBER_OF_LINES - g_u8ActiveRow - 1];
			g_u8LedRespRedData = LED_ON <<
					g_au8RedResponses[NUMBER_OF_LINES - g_u8ActiveRow - 1];
		}
	}
    HAL_TIM_Base_Start_IT(&htim15);
}

void usDelay(uint16_t u16useconds)
{
	//Обнуляем счетчик таймера
	__HAL_TIM_SET_COUNTER(&htim6, 0);
	__HAL_TIM_CLEAR_FLAG(&htim6, TIM_FLAG_UPDATE);
	//ждем пока счетчик не достигнет заданного времени
	while(__HAL_TIM_GET_COUNTER(&htim6) < u16useconds) {
		//Ставим проверку, если вдруг счетчик переполнится
		if (__HAL_TIM_GET_FLAG(&htim6, TIM_FLAG_UPDATE) != RESET) {
			break;
		}
	}
}

//void ChangeRowLEDSR(void)
//{
//	ActiveRow++;
//		  if (ActiveRow == NUMBER_OF_LINES) {
//			  ActiveRow = 0;
//		  }
//}
//
//void ChangeColorLEDSR(void)
//{
//	ActiveRowColor++;
//	if (ActiveRowColor == NUMBER_OF_COLORS) {
//		ActiveRowColor = 0;
//	}
//}

void HAL_TIM_PeriodElapsedCallback(TIM_HandleTypeDef *htim)
{

//	if (htim == &htim3)
//	{
//		//g_u8NeedToDisplayLedData = 1;
//	HAL_TIM_Base_Start_IT(&htim6); /*разрешаем прерывания после того как отобразили первое*/
//		HAL_GPIO_TogglePin(Temp_sensor_cable_RED_LED_GPIO_Port,
//				Temp_sensor_cable_RED_LED_Pin);
//	}
//
//	if (htim == &htim6)
//	{
//		HAL_GPIO_WritePin(LINE_CALL_SR_DATA_GPIO_Port, LINE_CALL_SR_DATA_Pin,
//				(~(SR_DATA_bm << g_u8ActiveWireCheck) & (SR_DATA_bm << g_u8CallWireStep) ));
//
//		HAL_GPIO_WritePin(LINE_CALL_SR_CLK_GPIO_Port,
//				LINE_CALL_SR_CLK_Pin, GPIO_PIN_SET);
//		HAL_GPIO_WritePin(LINE_CALL_SR_CLK_GPIO_Port,
//				LINE_CALL_SR_CLK_Pin, GPIO_PIN_RESET);
//
//		g_u8CallWireStep++; /*считаем позиции регистра*/
//
//		if (g_u8CallWireStep == NUMBER_OF_LINES) {
//			/*разрешаем считывать как выставили 8 позиций в регистре*/
//			g_u8RingDataReadyToReadFlag = 1;
//			g_u8CallWireStep = 0;
//	        HAL_TIM_Base_Stop_IT(&htim6); /*запрещаем прерывания*/
//		}
//	}
	if (htim == &htim15)
	{
		g_u8StartIndicationFlag = 1;
		g_u8NeedToDisplayStartLedData = 1;
		//HAL_TIM_Base_Stop_IT(&htim15); /*запрещаем прерывания*/
	}
}

/* USER CODE END 4 */

void Error_Handler(void)
{
  __disable_irq();
  while (1)
  {
  }
}
